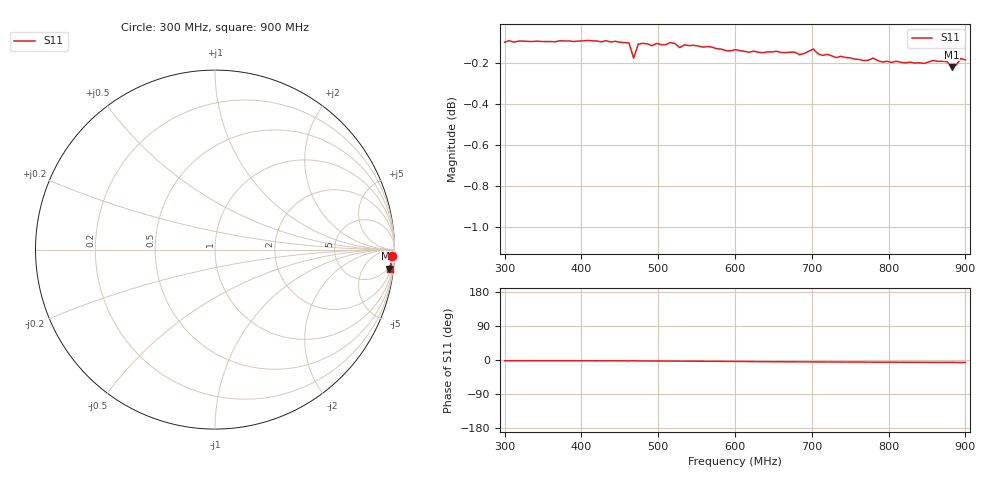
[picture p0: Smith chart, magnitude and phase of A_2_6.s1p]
# HZ S RI R 50
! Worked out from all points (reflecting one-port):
!   101 points, 300 MHz to 900 MHz, reference 50 ohm
!   lowest |S11| = -0.2 dB at 882 MHz (marker M1), VSWR 78.37, Z = 206 - j873 ohm
!   phase of S11 starts at -2 deg and turns -4 deg over the sweep
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3e8  0.9878 -0.0336
3.3e8  0.9883 -0.0322
3.78e8  0.9885 -0.0339
4.02e8  0.9886 -0.0344
4.5e8  0.9876 -0.039
4.62e8  0.9871 -0.0411
4.68e8  0.9789 -0.0361
4.74e8  0.9865 -0.0418
4.92e8  0.9854 -0.0451
5.16e8  0.987 -0.0489
5.28e8  0.9841 -0.0508
5.34e8  0.9856 -0.0517
6e8  0.9821 -0.0651
6.48e8  0.9799 -0.0778
6.78e8  0.9794 -0.0827
6.84e8  0.9779 -0.0845
6.96e8  0.9798 -0.0846
7.02e8  0.9807 -0.0884
7.14e8  0.9772 -0.0878
7.38e8  0.9765 -0.0901
7.5e8  0.9753 -0.0933
8.28e8  0.9721 -0.1018
8.7e8  0.972 -0.1074
8.76e8  0.9721 -0.1044
8.82e8  0.9691 -0.1055
8.88e8  0.9698 -0.1085
8.94e8  0.9732 -0.1104
9e8  0.9725 -0.1096
